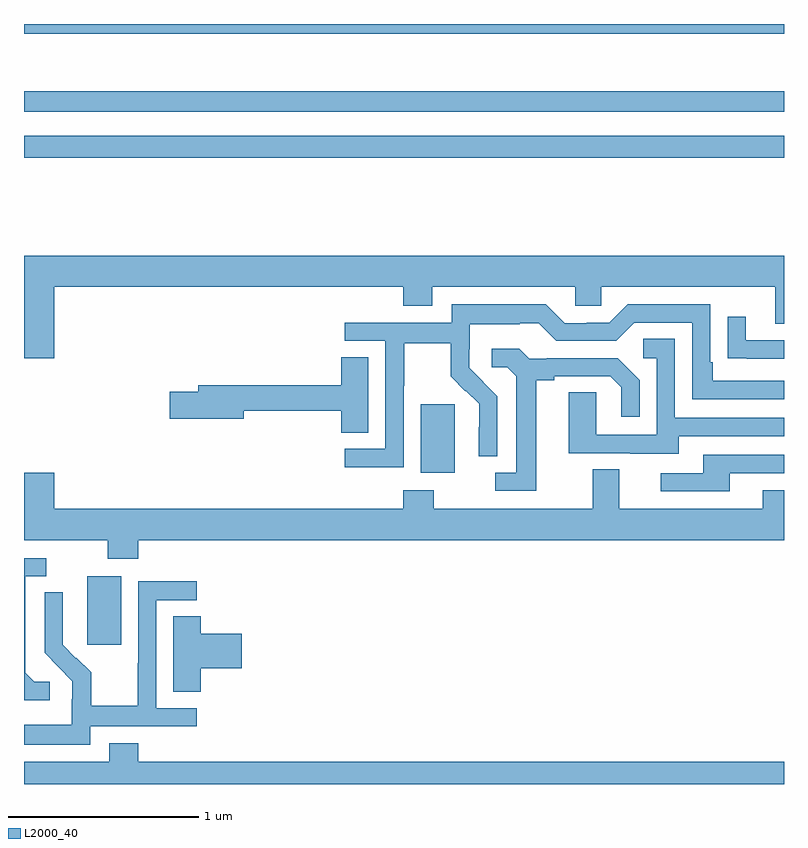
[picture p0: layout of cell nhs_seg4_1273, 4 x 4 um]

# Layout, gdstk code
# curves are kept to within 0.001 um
import gdstk
lib = gdstk.Library(unit=1e-6, precision=1e-09)
def R(c, l, rs):  # rectangles x0, y0, x1, y1
    for r in rs: c.add(gdstk.rectangle(r[:2], r[2:], *l))
def P(c, l, *ps):  # polygons
    for p in ps: c.add(gdstk.Polygon(p, *l))
L2000_40 = (2000, 40)

nhs_seg4_1273 = lib.new_cell('nhs_seg4_1273')
R(nhs_seg4_1273, L2000_40, [(177.332,765.633,177.511,765.994), (179.087,766.538,179.266,766.899), (177,768.196,181,768.312), (177,768.438,181,768.547), (177,768.848,181,768.9)])
P(nhs_seg4_1273, L2000_40, [(177.16,767.516),(178.997,767.516),(178.997,767.417),(179.149,767.417),(179.149,767.516),(179.901,767.516),(179.901,767.418),(180.039,767.418),(180.039,767.516),(180.953,767.516),(180.953,767.322),(181,767.322),(181,767.68),(177,767.68),(177,767.142),(177.16,767.142)],
  [(178.998,766.996),(179.001,766.996),(179.001,767.22),(179.245,767.22),(179.245,767.045),(179.322,766.968),(179.325,766.971),(179.396,766.901),(179.396,766.778),(179.394,766.778),(179.394,766.624),(179.49,766.624),(179.49,766.942),(179.344,767.09),(179.344,767.187),(179.346,767.187),(179.346,767.321),(179.609,767.321),(179.609,767.325),(179.709,767.325),(179.802,767.232),(180.117,767.232),(180.213,767.328),(180.516,767.328),(180.516,766.926),(181,766.926),(181,767.022),(180.625,767.022),(180.625,767.119),(180.612,767.119),(180.612,767.424),(180.177,767.424),(180.081,767.328),(179.963,767.328),(179.963,767.325),(179.847,767.325),(179.747,767.425),(179.25,767.425),(179.25,767.328),(178.689,767.328),(178.689,767.232),(178.902,767.232),(178.902,766.665),(178.689,766.665),(178.689,766.567),(178.998,766.567)],
  [(181,767.235),(180.799,767.235),(180.799,767.359),(180.703,767.359),(180.703,767.14),(180.805,767.14),(180.805,767.139),(181,767.139)],
  [(180.445,766.731),(181,766.731),(181,766.827),(180.426,766.827),(180.426,767.243),(180.258,767.243),(180.258,767.142),(180.33,767.142),(180.33,766.737),(180.012,766.737),(180.012,766.961),(179.867,766.961),(179.867,766.641),(180.191,766.641),(180.191,766.637),(180.445,766.637)],
  [(179.695,767.024),(179.791,767.024),(179.791,767.046),(180.086,767.046),(180.143,766.989),(180.143,766.833),(180.24,766.833),(180.24,767.026),(180.124,767.142),(179.752,767.142),(179.752,767.139),(179.658,767.139),(179.606,767.191),(179.463,767.191),(179.463,767.094),(179.544,767.094),(179.591,767.047),(179.591,766.539),(179.481,766.539),(179.481,766.443),(179.695,766.443)],
  [(178.813,767.147),(178.67,767.147),(178.67,767),(177.917,767),(177.917,766.964),(177.768,766.964),(177.768,766.822),(178.156,766.822),(178.156,766.864),(178.67,766.864),(178.67,766.75),(178.813,766.75)],
  [(180.715,766.536),(181,766.536),(181,766.632),(180.575,766.632),(180.575,766.536),(180.351,766.536),(180.351,766.44),(180.715,766.44)],
  [(177.602,766.184),(181,766.184),(181,766.447),(180.887,766.447),(180.887,766.348),(180.133,766.348),(180.133,766.556),(179.993,766.556),(179.993,766.348),(179.157,766.348),(179.157,766.447),(178.997,766.447),(178.997,766.348),(177.16,766.348),(177.16,766.537),(177,766.537),(177,766.184),(177.442,766.184),(177.442,766.085),(177.602,766.085)],
  [(177.136,765.438),(177.054,765.438),(177.007,765.485),(177.007,765.993),(177.118,765.993),(177.118,766.089),(177,766.089),(177,765.341),(177.136,765.341)],
  [(177.348,765.204),(177.91,765.204),(177.91,765.3),(177.696,765.3),(177.696,765.867),(177.91,765.867),(177.91,765.966),(177.6,765.966),(177.6,765.536),(177.598,765.536),(177.598,765.313),(177.353,765.313),(177.353,765.487),(177.276,765.564),(177.273,765.561),(177.203,765.632),(177.204,765.908),(177.108,765.908),(177.108,765.59),(177.254,765.442),(177.254,765.345),(177.252,765.345),(177.252,765.211),(177,765.211),(177,765.107),(177.348,765.107)],
  [(177.929,765.509),(178.147,765.509),(178.147,765.692),(177.929,765.692),(177.929,765.782),(177.785,765.782),(177.785,765.385),(177.929,765.385)],
  [(181,765.016),(177.602,765.016),(177.602,765.115),(177.449,765.115),(177.449,765.016),(177,765.016),(177,764.9),(181,764.9)])

lib.write_gds('nhs_seg4_1273.gds')
